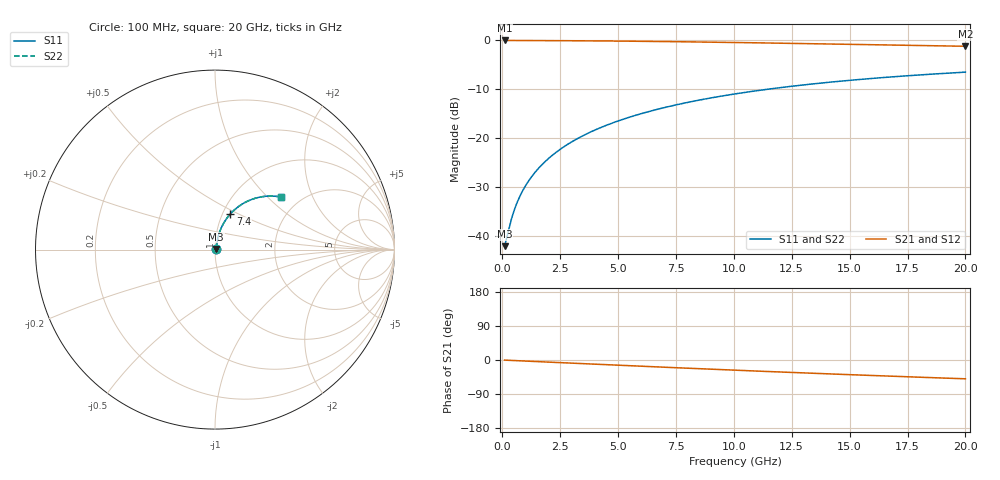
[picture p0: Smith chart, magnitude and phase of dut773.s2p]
! Touchstone file exported from HFSS 2026.1.0
!  File:  C:/ffzhzh/LocalFiles/Ansys_Project_Files/temp_train_TMRDL_773_1783155651_43440.aedt
!  Generated:  05:02:04 PM Jul  4, 2026
!  Design:  TMRDL
!  Project:  temp_train_TMRDL_773_1783155651_43440
! Variables:
!  h_bsmrdl = 2um
!  h_ox = 20um
!  h_rdl = 5um
!  h_sub = 80um
!  h_tmrdl = 2.66um
!  h_tsv = 80um
!  h_via = 3um
!  l_bsmrdl = 300um
!  l_sub = 1135.72um
!  l_tmrdl = 735.72um
!  m_sub = 200um
!  pitch = 36.3um
!  r_tsv = 6um
!  s_tmrdl = 10um
!  w_bsmrdl = 18um
!  w_sub = 500um
!  w_tmrdl = 13.9um
!  x_tsv_center1 = 742.67um
!  x_tsv_center2 = 1060.67um
!  x_tsv_center3 = 1810.29um
!  x_tsv_center4 = 2128.29um
!  x_tsv_center5 = 2877.91um
!  x_tsv_center6 = 3195.91um
# GHz S MA R 50.000000
! Terminal data exported
! Port[1] = TM_RDL1_1_T1
! Port[2] = TM_RDL1_1_T2
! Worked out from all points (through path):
!   200 points, 100 MHz to 20 GHz, reference 50 ohm
!   highest |S21| = -0.06 dB at 100 MHz (marker M1); lowest = -1.3 dB at 20 GHz (marker M2)
!   group delay of S21, straight-line fit = 6.91 ps
!   lowest |S11| = -42.1 dB at 100 MHz (marker M3), VSWR 1.02, Z = 50.7 + j0.33 ohm
!   |S11| at or under -10 dB: start of sweep to 11.52 GHz
!   |S22| runs from -42.1 to -6.5 dB; largest |S21 - S12| = 2.7e-15
!   S11 on the Smith chart (normalised r, x): 100 MHz: 1.01, +0.01; 7.4 GHz: 1.09, +0.45; 20 GHz: 1.61, +1.21
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0.1  0.007828 24.6  0.9929 -0.3  0.9929 -0.3  0.007828 24.6
! Gamma 0 0 0 0
! Port Impedance 50 0 50 0
0.3  0.01223 52.3  0.9926 -0.9  0.9926 -0.9  0.01223 52.3
0.4  0.01497 58.8  0.9924 -1.2  0.9924 -1.2  0.01497 58.8
0.6  0.0207 66.0  0.992 -1.7  0.992 -1.7  0.0207 66.0
0.7  0.02361 68.2  0.9918 -2.0  0.9918 -2.0  0.02361 68.2
0.9  0.02944 71.2  0.9914 -2.6  0.9914 -2.6  0.02944 71.2
1.2  0.03822 73.7  0.9908 -3.4  0.9908 -3.4  0.03822 73.7
1.4  0.04409 74.7  0.9904 -3.9  0.9904 -3.9  0.04409 74.8
1.7  0.05293 75.7  0.9898 -4.8  0.9898 -4.8  0.05293 75.7
2.2  0.0677 76.2  0.9887 -6.1  0.9887 -6.1  0.0677 76.2
2.8  0.0854 76.0  0.9871 -7.8  0.9871 -7.8  0.0854 76.0
3.5  0.1059 75.1  0.9849 -9.7  0.9849 -9.7  0.1059 75.1
4.2  0.1263 73.9  0.9822 -11.6  0.9822 -11.6  0.1263 73.9
5  0.1492 72.3  0.9786 -13.8  0.9786 -13.8  0.1492 72.3
5.9  0.1744 70.3  0.974 -16.2  0.974 -16.2  0.1744 70.3
6.8  0.1991 68.2  0.9689 -18.5  0.9689 -18.5  0.1991 68.3
7.4  0.2151 66.8  0.9651 -20.1  0.9651 -20.1  0.2151 66.8
8.7  0.2488 63.7  0.9564 -23.5  0.9564 -23.5  0.2488 63.7
10.1  0.2833 60.4  0.9461 -27.0  0.9461 -27.0  0.2833 60.4
13.4  0.3567 52.6  0.9197 -35.0  0.9197 -35.0  0.3567 52.7
16.7  0.4191 45.3  0.8923 -42.5  0.8923 -42.5  0.419 45.4
20  0.4708 38.4  0.8659 -49.6  0.8659 -49.6  0.4708 38.5
